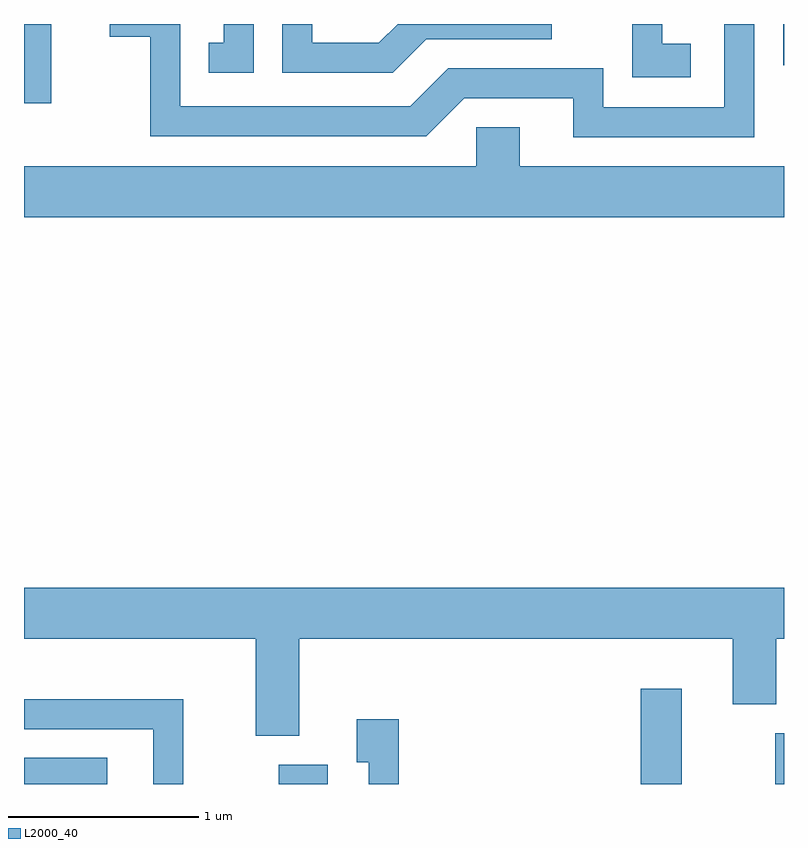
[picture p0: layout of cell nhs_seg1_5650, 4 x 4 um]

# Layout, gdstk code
import gdstk
lib = gdstk.Library(unit=1e-6, precision=1e-09)
def R(c, l, rs):  # rectangles x0, y0, x1, y1
    for r in rs: c.add(gdstk.rectangle(r[:2], r[2:], *l))
def P(c, l, *ps):  # polygons
    for p in ps: c.add(gdstk.Polygon(p, *l))
L2000_40 = (2000, 40)

nhs_seg1_5650 = lib.new_cell('nhs_seg1_5650')
R(nhs_seg1_5650, L2000_40, [(355.611,887.712,356.048,887.849), (356.951,887.712,357.209,887.814), (358.856,887.712,359.074,888.214), (359.566,887.712,359.611,887.979), (355.611,891.296,355.754,891.712), (359.606,891.496,359.611,891.712)])
P(nhs_seg1_5650, L2000_40, [(356.819,891.712),(356.661,891.712),(356.661,891.614),(356.583,891.614),(356.583,891.456),(356.819,891.456)],
  [(359.119,891.609),(358.969,891.609),(358.969,891.712),(358.811,891.712),(358.811,891.431),(359.119,891.431)],
  [(357.727,891.631),(358.389,891.631),(358.389,891.712),(357.577,891.712),(357.479,891.614),(357.129,891.614),(357.129,891.712),(356.971,891.712),(356.971,891.456),(357.552,891.456)],
  [(359.454,891.712),(359.296,891.712),(359.296,891.274),(358.659,891.274),(358.659,891.479),(357.844,891.479),(357.644,891.279),(356.434,891.279),(356.434,891.712),(356.061,891.712),(356.061,891.646),(356.276,891.646),(356.276,891.121),(357.727,891.121),(357.927,891.321),(358.501,891.321),(358.501,891.116),(359.454,891.116)],
  [(359.611,890.964),(358.219,890.964),(358.219,891.169),(357.991,891.169),(357.991,890.964),(355.611,890.964),(355.611,890.696),(359.611,890.696)],
  [(357.059,888.476),(359.341,888.476),(359.341,888.131),(359.569,888.131),(359.569,888.476),(359.611,888.476),(359.611,888.744),(355.611,888.744),(355.611,888.476),(356.831,888.476),(356.831,887.966),(357.059,887.966)],
  [(356.449,888.159),(355.611,888.159),(355.611,888.001),(356.291,888.001),(356.291,887.712),(356.449,887.712)],
  [(357.584,888.054),(357.361,888.054),(357.361,887.826),(357.426,887.826),(357.426,887.712),(357.584,887.712)])

lib.write_gds('nhs_seg1_5650.gds')
